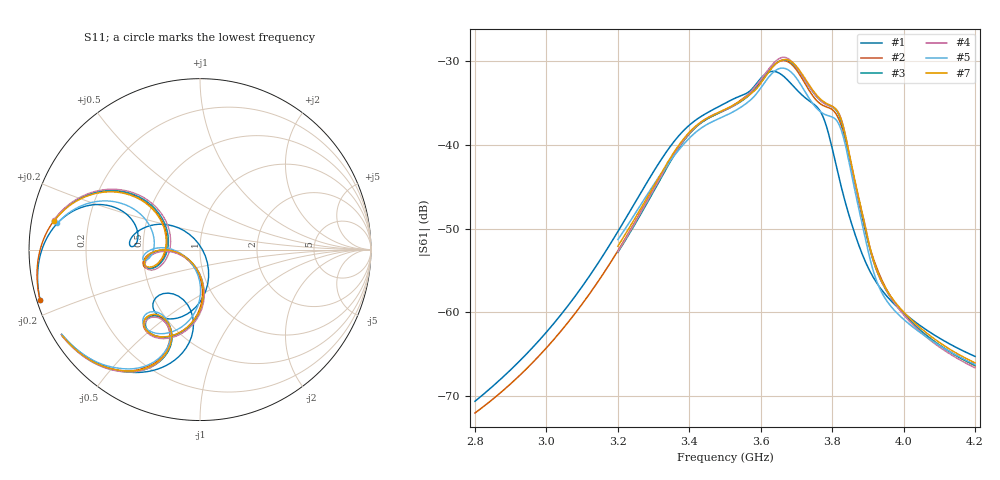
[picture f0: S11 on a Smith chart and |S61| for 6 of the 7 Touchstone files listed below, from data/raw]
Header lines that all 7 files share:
! Touchstone file exported from HFSS 2024.2.0
!  Setup:  Setup1
!  Solution:  Sweep
! Variables:
# GHz S MA R 50.000000
Fixed: $L = 85mm, $W = 35mm, H = 1.575mm, L = 42mm, W = 35mm, Wb = 6mm, a = 3.5mm, ant_dist = 115mm, ant_gap = 3mm, b = 5mm, c = 5mm, d = 2mm, g1 = 2mm, g2 = 2mm, g3 = 1mm, g4 = 2mm, gap = 10mm, r1 = 3.5mm, r2 = 6mm, r_brain = 95mm, r_brain_ad = 61.68mm, r_csf = 95.5mm, r_csf_expanded = 64.6mm, r_csf_inner = 61.68mm, r_csf_outer = 83.5mm, r_fat = 87.5mm, r_gray = 70.55mm, r_skin = 88mm, r_skull = 86.5mm, r_white = 17.5mm, slot_distance = 15mm, wc = 12mm, y1 = 15mm, y2 = 5mm, y4 = 11mm, z_ebg = -94.575mm
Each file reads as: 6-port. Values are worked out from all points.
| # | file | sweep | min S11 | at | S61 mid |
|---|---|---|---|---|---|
| 1 | Brain_sevem_layer_ModerateAD.s6p | 2.8 GHz to 4.2 GHz | -37.2 dB | 3.63 GHz | -35.0 dB at 3.5 GHz |
| 2 | new_MCI.s6p | 2.8 GHz to 4.2 GHz | -20.7 dB | 3.655 GHz | -35.8 dB at 3.5 GHz |
| 3 | new_with_slices_Healthy_sliced_new.s6p | 3.2 GHz to 4.2 GHz | -21.1 dB | 3.655 GHz | -30.7 dB at 3.7 GHz |
| 4 | new_with_slices_Null_rot19.s6p | 3.2 GHz to 4.2 GHz | -20.9 dB | 3.655 GHz | -30.7 dB at 3.7 GHz |
| 5 | new_with_slices_Severe_lobe.s6p | 3.2 GHz to 4.2 GHz | -20.9 dB | 3.655 GHz | -32.0 dB at 3.7 GHz |
| 6 | new_with_slices_Severe_lobe_new.s6p | 3.2 GHz to 4.2 GHz | -20.9 dB | 3.655 GHz | -32.0 dB at 3.7 GHz |
| 7 | new_with_slices_Test_B.s6p | 3.2 GHz to 4.2 GHz | -21.2 dB | 3.655 GHz | -30.6 dB at 3.7 GHz |
